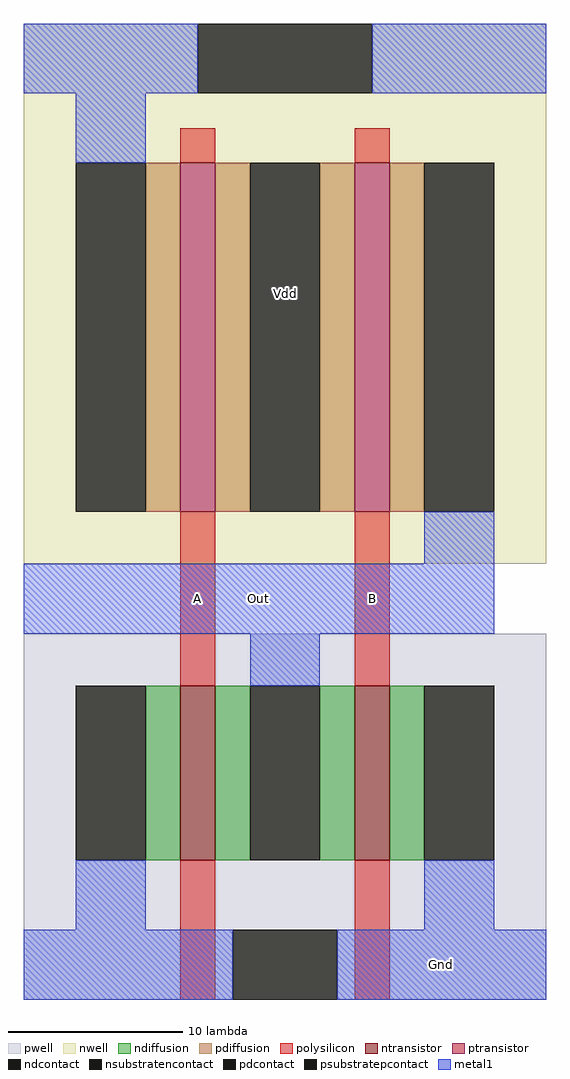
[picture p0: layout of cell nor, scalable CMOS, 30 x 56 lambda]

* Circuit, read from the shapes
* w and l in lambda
.subckt nor A B Gnd Out Vdd
M1 Out A Gnd Gnd nfet w=10 l=2
M2 Gnd B Out Gnd nfet w=10 l=2
M3 n1 A Vdd Vdd pfet w=20 l=2
M4 Out B n1 Vdd pfet w=20 l=2
.ends

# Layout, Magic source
magic
tech scmos
<< pwell >>
rect -16 -23 14 -2
<< nwell >>
rect -16 2 14 33
<< polysilicon >>
rect -7 25 -5 27
rect 3 25 5 27
rect -7 -5 -5 5
rect 3 -5 5 5
rect -7 -23 -5 -15
rect 3 -23 5 -15
<< ndiffusion >>
rect -9 -15 -7 -5
rect -5 -15 -3 -5
rect 1 -15 3 -5
rect 5 -15 7 -5
<< pdiffusion >>
rect -9 5 -7 25
rect -5 5 -3 25
rect 1 5 3 25
rect 5 5 7 25
<< metal1 >>
rect -16 29 -6 33
rect 4 29 14 33
rect -13 25 -9 29
rect 7 2 11 5
rect -16 -2 11 2
rect -3 -5 1 -2
rect -13 -19 -9 -15
rect 7 -19 11 -15
rect -16 -23 -4 -19
rect 2 -23 14 -19
<< ntransistor >>
rect -7 -15 -5 -5
rect 3 -15 5 -5
<< ptransistor >>
rect -7 5 -5 25
rect 3 5 5 25
<< ndcontact >>
rect -13 -15 -9 -5
rect -3 -15 1 -5
rect 7 -15 11 -5
<< pdcontact >>
rect -13 5 -9 25
rect -3 5 1 25
rect 7 5 11 25
<< psubstratepcontact >>
rect -4 -23 2 -19
<< nsubstratencontact >>
rect -6 29 4 33
<< labels >>
rlabel nwell -16 2 14 33 1 Vdd
rlabel polysilicon 3 -5 5 5 1 B
rlabel polysilicon -7 -5 -5 5 1 A
rlabel metal1 -16 -2 11 2 1 Out
rlabel metal1 2 -23 14 -19 1 Gnd
<< end >>
